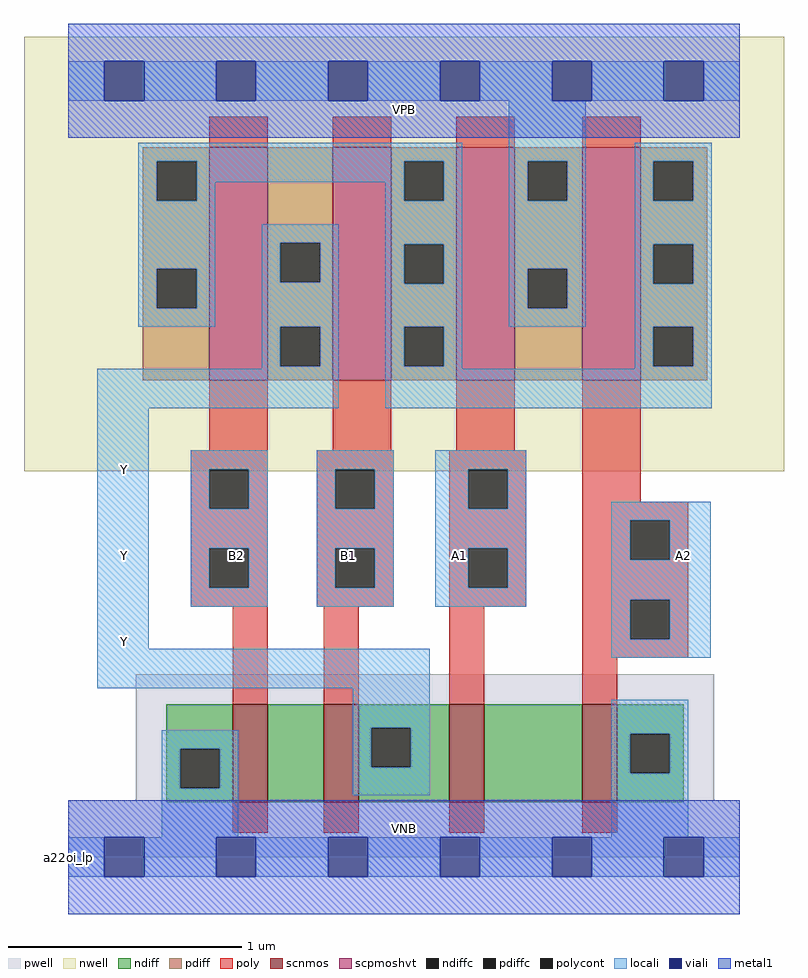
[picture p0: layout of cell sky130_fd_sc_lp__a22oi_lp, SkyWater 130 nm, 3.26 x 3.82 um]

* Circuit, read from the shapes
.subckt sky130_fd_sc_lp__a22oi_lp A1 A2 B1 B2 VGND VNB VPB VPWR Y
XM1 n1 B2 VGND VNB sky130_fd_pr__nfet_01v8 w=0.42 l=0.15
XM2 Y B1 n1 VNB sky130_fd_pr__nfet_01v8 w=0.42 l=0.15
XM3 n2 A1 Y VNB sky130_fd_pr__nfet_01v8 w=0.42 l=0.15
XM4 VGND A2 n2 VNB sky130_fd_pr__nfet_01v8 w=0.42 l=0.15
XM5 Y B2 n3 VPB sky130_fd_pr__pfet_01v8_hvt w=1 l=0.25
XM6 n3 B1 Y VPB sky130_fd_pr__pfet_01v8_hvt w=1 l=0.25
XM7 VPWR A1 n3 VPB sky130_fd_pr__pfet_01v8_hvt w=1 l=0.25
XM8 n3 A2 VPWR VPB sky130_fd_pr__pfet_01v8_hvt w=1 l=0.25
.ends

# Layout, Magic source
magic
tech sky130A
magscale 1 2
<< nwell >>
rect -38 331 614 704
<< pwell >>
rect 58 49 554 157
rect 0 0 576 49
<< scnmos >>
rect 141 47 171 131
rect 219 47 249 131
rect 327 47 357 131
rect 441 47 471 131
<< scpmoshvt >>
rect 121 409 171 609
rect 227 409 277 609
rect 333 409 383 609
rect 441 409 491 609
<< ndiff >>
rect 84 93 141 131
rect 84 59 96 93
rect 130 59 141 93
rect 84 47 141 59
rect 171 47 219 131
rect 249 111 327 131
rect 249 77 260 111
rect 294 77 327 111
rect 249 47 327 77
rect 357 47 441 131
rect 471 106 528 131
rect 471 72 482 106
rect 516 72 528 106
rect 471 47 528 72
<< pdiff >>
rect 64 597 121 609
rect 64 563 76 597
rect 110 563 121 597
rect 64 505 121 563
rect 64 471 76 505
rect 110 471 121 505
rect 64 409 121 471
rect 171 527 227 609
rect 171 493 182 527
rect 216 493 227 527
rect 171 455 227 493
rect 171 421 182 455
rect 216 421 227 455
rect 171 409 227 421
rect 277 597 333 609
rect 277 563 288 597
rect 322 563 333 597
rect 277 526 333 563
rect 277 492 288 526
rect 322 492 333 526
rect 277 455 333 492
rect 277 421 288 455
rect 322 421 333 455
rect 277 409 333 421
rect 383 597 441 609
rect 383 563 394 597
rect 428 563 441 597
rect 383 505 441 563
rect 383 471 394 505
rect 428 471 441 505
rect 383 409 441 471
rect 491 597 548 609
rect 491 563 502 597
rect 536 563 548 597
rect 491 526 548 563
rect 491 492 502 526
rect 536 492 548 526
rect 491 455 548 492
rect 491 421 502 455
rect 536 421 548 455
rect 491 409 548 421
<< ndiffc >>
rect 96 59 130 93
rect 260 77 294 111
rect 482 72 516 106
<< pdiffc >>
rect 76 563 110 597
rect 76 471 110 505
rect 182 493 216 527
rect 182 421 216 455
rect 288 563 322 597
rect 288 492 322 526
rect 288 421 322 455
rect 394 563 428 597
rect 394 471 428 505
rect 502 563 536 597
rect 502 492 536 526
rect 502 421 536 455
<< poly >>
rect 121 609 171 635
rect 227 609 277 635
rect 333 609 383 635
rect 441 609 491 635
rect 121 349 171 409
rect 227 349 277 409
rect 333 349 383 409
rect 105 333 171 349
rect 105 299 121 333
rect 155 299 171 333
rect 105 265 171 299
rect 105 231 121 265
rect 155 231 171 265
rect 105 215 171 231
rect 213 333 279 349
rect 213 299 229 333
rect 263 299 279 333
rect 213 265 279 299
rect 213 231 229 265
rect 263 231 279 265
rect 213 215 279 231
rect 327 333 393 349
rect 327 299 343 333
rect 377 299 393 333
rect 327 265 393 299
rect 327 231 343 265
rect 377 231 393 265
rect 327 215 393 231
rect 441 305 491 409
rect 441 289 532 305
rect 441 255 482 289
rect 516 255 532 289
rect 441 221 532 255
rect 141 131 171 215
rect 219 131 249 215
rect 327 131 357 215
rect 441 187 482 221
rect 516 187 532 221
rect 441 171 532 187
rect 441 131 471 171
rect 141 21 171 47
rect 219 21 249 47
rect 327 21 357 47
rect 441 21 471 47
<< polycont >>
rect 121 299 155 333
rect 121 231 155 265
rect 229 299 263 333
rect 229 231 263 265
rect 343 299 377 333
rect 343 231 377 265
rect 482 255 516 289
rect 482 187 516 221
<< locali >>
rect 0 649 31 683
rect 65 649 127 683
rect 161 649 223 683
rect 257 649 319 683
rect 353 649 415 683
rect 449 649 511 683
rect 545 649 576 683
rect 60 597 338 613
rect 60 563 76 597
rect 110 579 288 597
rect 110 563 126 579
rect 60 505 126 563
rect 272 563 288 579
rect 322 563 338 597
rect 60 471 76 505
rect 110 471 126 505
rect 60 455 126 471
rect 166 527 232 543
rect 166 493 182 527
rect 216 493 232 527
rect 166 455 232 493
rect 166 421 182 455
rect 216 421 232 455
rect 166 419 232 421
rect 25 385 232 419
rect 272 526 338 563
rect 272 492 288 526
rect 322 492 338 526
rect 272 455 338 492
rect 378 597 444 649
rect 378 563 394 597
rect 428 563 444 597
rect 378 505 444 563
rect 378 471 394 505
rect 428 471 444 505
rect 378 455 444 471
rect 486 597 552 613
rect 486 563 502 597
rect 536 563 552 597
rect 486 526 552 563
rect 486 492 502 526
rect 536 492 552 526
rect 486 455 552 492
rect 272 421 288 455
rect 322 421 338 455
rect 272 419 338 421
rect 486 421 502 455
rect 536 421 552 455
rect 486 419 552 421
rect 272 385 552 419
rect 25 179 69 385
rect 105 333 171 349
rect 105 299 121 333
rect 155 299 171 333
rect 105 265 171 299
rect 105 231 121 265
rect 155 231 171 265
rect 105 215 171 231
rect 213 333 279 349
rect 213 299 229 333
rect 263 299 279 333
rect 213 265 279 299
rect 213 231 229 265
rect 263 231 279 265
rect 213 215 279 231
rect 315 333 393 349
rect 315 299 343 333
rect 377 299 393 333
rect 315 265 393 299
rect 315 231 343 265
rect 377 231 393 265
rect 315 215 393 231
rect 466 289 551 305
rect 466 255 482 289
rect 516 255 551 289
rect 466 221 551 255
rect 466 187 482 221
rect 516 187 551 221
rect 25 145 310 179
rect 466 171 551 187
rect 244 111 310 145
rect 80 93 146 109
rect 80 59 96 93
rect 130 59 146 93
rect 80 17 146 59
rect 244 77 260 111
rect 294 77 310 111
rect 244 53 310 77
rect 466 106 532 135
rect 466 72 482 106
rect 516 72 532 106
rect 466 17 532 72
rect 0 -17 31 17
rect 65 -17 127 17
rect 161 -17 223 17
rect 257 -17 319 17
rect 353 -17 415 17
rect 449 -17 511 17
rect 545 -17 576 17
<< viali >>
rect 31 649 65 683
rect 127 649 161 683
rect 223 649 257 683
rect 319 649 353 683
rect 415 649 449 683
rect 511 649 545 683
rect 31 -17 65 17
rect 127 -17 161 17
rect 223 -17 257 17
rect 319 -17 353 17
rect 415 -17 449 17
rect 511 -17 545 17
<< metal1 >>
rect 0 683 576 715
rect 0 649 31 683
rect 65 649 127 683
rect 161 649 223 683
rect 257 649 319 683
rect 353 649 415 683
rect 449 649 511 683
rect 545 649 576 683
rect 0 617 576 649
rect 0 17 576 49
rect 0 -17 31 17
rect 65 -17 127 17
rect 161 -17 223 17
rect 257 -17 319 17
rect 353 -17 415 17
rect 449 -17 511 17
rect 545 -17 576 17
rect 0 -49 576 -17
<< labels >>
flabel pwell s 0 0 576 49 0 FreeSans 200 0 0 0 VNB
port 6 nsew ground bidirectional
flabel nwell s 0 617 576 666 0 FreeSans 200 0 0 0 VPB
port 7 nsew power bidirectional
rlabel comment s 0 0 0 0 4 a22oi_lp
flabel metal1 s 0 617 576 666 0 FreeSans 340 0 0 0 VPWR
port 8 nsew power bidirectional
flabel metal1 s 0 0 576 49 0 FreeSans 340 0 0 0 VGND
port 5 nsew ground bidirectional
flabel locali s 127 242 161 276 0 FreeSans 340 0 0 0 B2
port 4 nsew signal input
flabel locali s 511 242 545 276 0 FreeSans 340 0 0 0 A2
port 2 nsew signal input
flabel locali s 319 242 353 276 0 FreeSans 340 0 0 0 A1
port 1 nsew signal input
flabel locali s 223 242 257 276 0 FreeSans 340 0 0 0 B1
port 3 nsew signal input
flabel locali s 31 168 65 202 0 FreeSans 340 0 0 0 Y
port 9 nsew signal output
flabel locali s 31 242 65 276 0 FreeSans 340 0 0 0 Y
port 9 nsew signal output
flabel locali s 31 316 65 350 0 FreeSans 340 0 0 0 Y
port 9 nsew signal output
<< properties >>
string LEFsite unit
string LEFclass CORE
string FIXED_BBOX 0 0 576 666
string GDS_FILE $PDKPATH/libs.ref/sky130_fd_sc_lp/gds/sky130_fd_sc_lp.gds
string LEFsymmetry X Y R90
string GDS_END 368492
string GDS_START 362764
<< end >>
